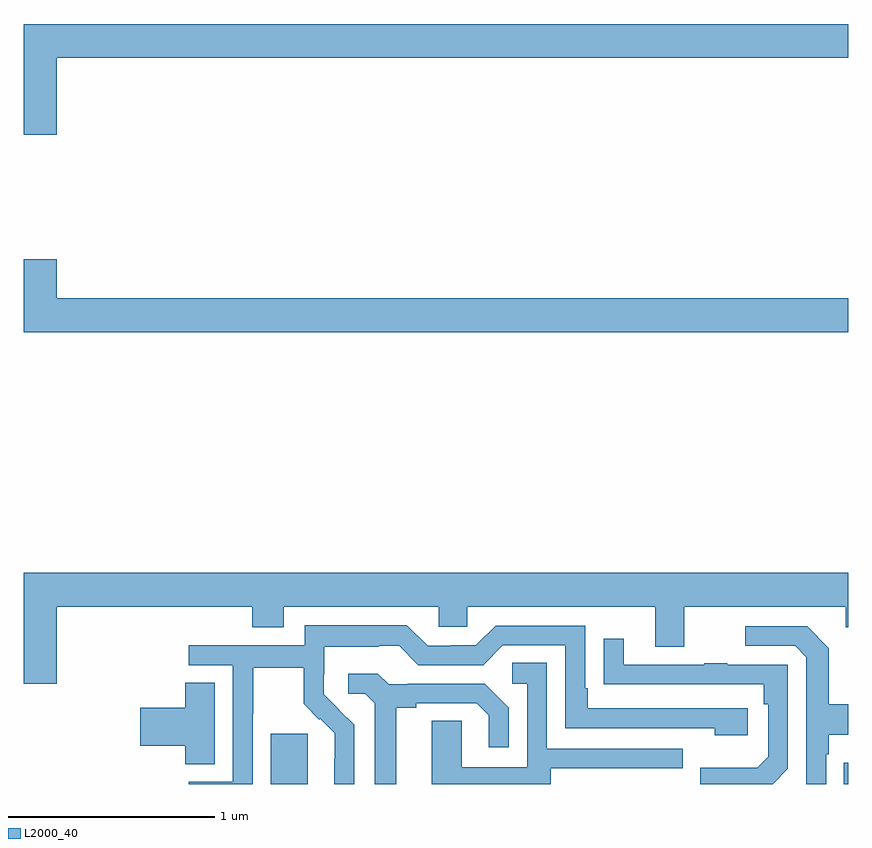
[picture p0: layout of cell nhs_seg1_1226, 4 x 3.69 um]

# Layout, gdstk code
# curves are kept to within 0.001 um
import gdstk
lib = gdstk.Library(unit=1e-6, precision=1e-09)
def R(c, l, rs):  # rectangles x0, y0, x1, y1
    for r in rs: c.add(gdstk.rectangle(r[:2], r[2:], *l))
def P(c, l, *ps):  # polygons
    for p in ps: c.add(gdstk.Polygon(p, *l))
L2000_40 = (2000, 40)

nhs_seg1_1226 = lib.new_cell('nhs_seg1_1226')
R(nhs_seg1_1226, L2000_40, [(178.199,556.199,178.378,556.443), (180.979,556.199,181,556.303)])
P(nhs_seg1_1226, L2000_40, [(177.16,559.724),(181,559.724),(181,559.888),(177,559.888),(177,559.35),(177.16,559.35)],
  [(181,558.556),(177.16,558.556),(177.16,558.745),(177,558.745),(177,558.392),(181,558.392)],
  [(177.16,557.06),(178.109,557.06),(178.109,556.961),(178.261,556.961),(178.261,557.06),(179.013,557.06),(179.013,556.962),(179.151,556.962),(179.151,557.06),(180.065,557.06),(180.065,556.866),(180.205,556.866),(180.205,557.06),(180.989,557.06),(180.989,556.961),(181,556.961),(181,557.224),(177,557.224),(177,556.686),(177.16,556.686)],
  [(178.11,556.54),(178.113,556.54),(178.113,556.764),(178.357,556.764),(178.357,556.589),(178.434,556.512),(178.437,556.515),(178.508,556.445),(178.506,556.199),(178.602,556.199),(178.602,556.486),(178.456,556.634),(178.456,556.731),(178.458,556.731),(178.458,556.865),(178.721,556.865),(178.721,556.869),(178.821,556.869),(178.914,556.776),(179.229,556.776),(179.325,556.872),(179.628,556.872),(179.628,556.47),(180.353,556.47),(180.353,556.436),(180.514,556.436),(180.514,556.566),(179.737,556.566),(179.737,556.663),(179.724,556.663),(179.724,556.968),(179.289,556.968),(179.193,556.872),(179.075,556.872),(179.075,556.869),(178.959,556.869),(178.859,556.969),(178.362,556.969),(178.362,556.872),(177.801,556.872),(177.801,556.776),(178.014,556.776),(178.014,556.209),(177.801,556.209),(177.801,556.199),(178.11,556.199)],
  [(180.894,556.343),(180.907,556.343),(180.907,556.439),(181,556.439),(181,556.587),(180.907,556.587),(180.907,556.859),(180.801,556.965),(180.501,556.965),(180.501,556.869),(180.744,556.869),(180.798,556.815),(180.798,556.199),(180.894,556.199)],
  [(180.708,556.272),(180.708,556.779),(180.413,556.779),(180.413,556.784),(180.301,556.784),(180.301,556.779),(179.911,556.779),(179.911,556.903),(179.815,556.903),(179.815,556.684),(180.592,556.683),(180.592,556.586),(180.612,556.586),(180.612,556.332),(180.559,556.279),(180.282,556.279),(180.282,556.199),(180.635,556.199)],
  [(179.557,556.275),(180.197,556.275),(180.197,556.371),(179.538,556.371),(179.538,556.787),(179.37,556.787),(179.37,556.686),(179.442,556.686),(179.442,556.281),(179.124,556.281),(179.124,556.505),(178.979,556.505),(178.979,556.199),(179.557,556.199)],
  [(178.807,556.568),(178.903,556.568),(178.903,556.59),(179.198,556.59),(179.255,556.533),(179.255,556.377),(179.352,556.377),(179.352,556.57),(179.236,556.686),(178.864,556.686),(178.864,556.683),(178.77,556.683),(178.718,556.735),(178.575,556.735),(178.575,556.638),(178.656,556.638),(178.703,556.591),(178.703,556.199),(178.807,556.199)],
  [(177.925,556.691),(177.782,556.691),(177.782,556.568),(177.564,556.568),(177.564,556.385),(177.782,556.385),(177.782,556.294),(177.925,556.294)])

lib.write_gds('nhs_seg1_1226.gds')
